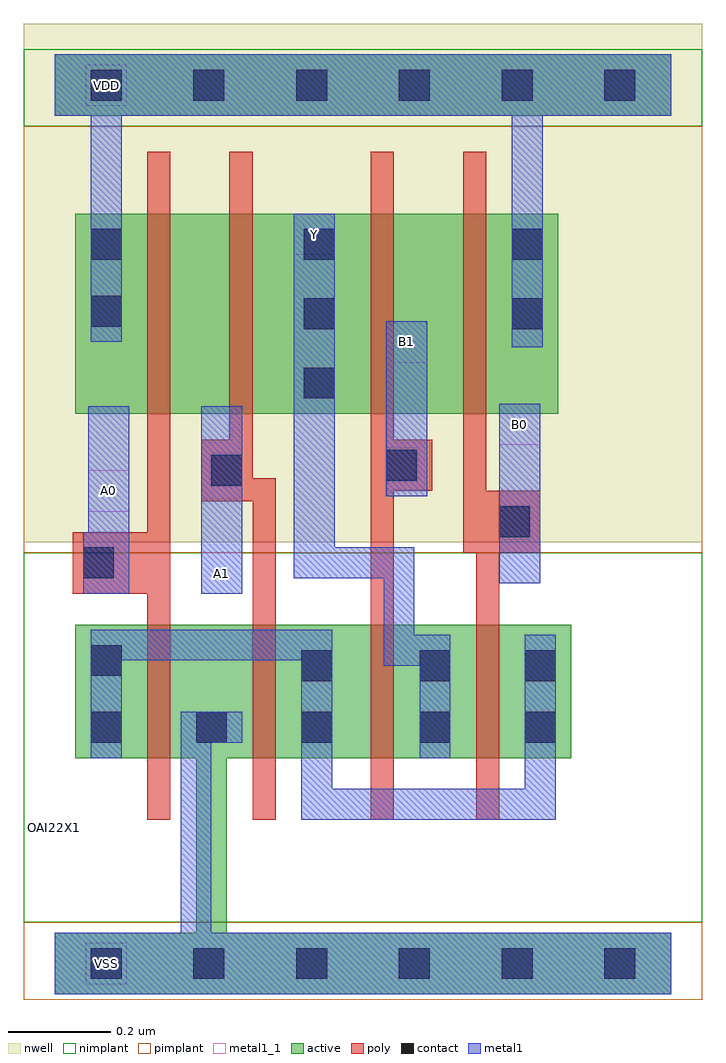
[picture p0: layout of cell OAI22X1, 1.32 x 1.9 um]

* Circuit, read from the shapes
.subckt OAI22X1 A0 A1 B0 B1 VDD VSS Y
M1 VSS A0 n1 VSS nfet w=0.26u l=0.045u
M2 n1 A1 VSS VSS nfet w=0.26u l=0.045u
M3 Y B1 n1 VSS nfet w=0.26u l=0.045u
M4 n1 B0 Y VSS nfet w=0.26u l=0.045u
M5 n2 A0 VDD VDD pfet w=0.39u l=0.045u
M6 Y A1 n2 VDD pfet w=0.39u l=0.045u
M7 n3 B1 Y VDD pfet w=0.39u l=0.045u
M8 VDD B0 n3 VDD pfet w=0.39u l=0.045u
.ends

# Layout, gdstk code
import gdstk
lib = gdstk.Library(unit=1e-6, precision=5e-10)
def R(c, l, rs):  # rectangles x0, y0, x1, y1
    for r in rs: c.add(gdstk.rectangle(r[:2], r[2:], *l))
def A(c, l, x, y, w, h, nx, ny, dx, dy):  # array of equal rectangles
    R(c, l, [(x+i*dx, y+j*dy, x+i*dx+w, y+j*dy+h) for i in range(nx) for j in range(ny)])
def P(c, l, *ps):  # polygons
    for p in ps: c.add(gdstk.Polygon(p, *l))
active = (1, 0)
nwell = (2, 0)
poly = (3, 0)
nimplant = (4, 0)
pimplant = (5, 0)
contact = (6, 0)
metal1 = (7, 0)
metal1_1 = (7, 1)

oai22x1 = lib.new_cell('OAI22X1')
R(oai22x1, active, [(0,-0.06,1.2,0.06), (0.275,0.055,0.335,0.435), (0.04,0.4,1.005,0.66), (0.04,1.07,0.98,1.46), (0,1.65,1.2,1.77)])
R(oai22x1, nwell, [(-0.06,0.82,1.26,1.83)])
P(oai22x1, poly, [(0.18,1.58),(0.225,1.58),(0.225,0.28),(0.18,0.28),(0.18,0.72),(0.035,0.72),(0.035,0.84),(0.18,0.84)],
  [(0.34,1.58),(0.385,1.58),(0.385,0.945),(0.43,0.945),(0.43,0.28),(0.385,0.28),(0.385,0.9),(0.285,0.9),(0.285,1.02),(0.34,1.02)],
  [(0.615,1.58),(0.66,1.58),(0.66,1.02),(0.735,1.02),(0.735,0.92),(0.66,0.92),(0.66,0.28),(0.615,0.28)],
  [(0.945,0.92),(0.84,0.92),(0.84,1.58),(0.795,1.58),(0.795,0.8),(0.82,0.8),(0.82,0.28),(0.865,0.28),(0.865,0.8),(0.945,0.8)])
R(oai22x1, nimplant, [(-0.06,0.08,1.26,0.8), (-0.06,1.63,1.26,1.78)])
R(oai22x1, pimplant, [(-0.06,-0.07,1.26,0.08), (-0.06,0.8,1.26,1.63)])
A(oai22x1, contact, 0.07, -0.03, 0.06, 0.06, 6, 2, 0.2, 1.71)
A(oai22x1, contact, 0.07, 0.43, 0.06, 0.06, 3, 1, 0.205, 0)
A(oai22x1, contact, 0.485, 1.1, 0.06, 0.06, 1, 3, 0, 0.135)
R(oai22x1, contact, [(0.71,0.43,0.77,0.49), (0.915,0.43,0.975,0.49), (0.48,0.55,0.54,0.61), (0.71,0.55,0.77,0.61), (0.915,0.55,0.975,0.61), (0.07,0.56,0.13,0.62), (0.055,0.75,0.115,0.81), (0.865,0.83,0.925,0.89), (0.305,0.93,0.365,0.99), (0.645,0.94,0.705,1), (0.89,1.235,0.95,1.295), (0.07,1.24,0.13,1.3), (0.07,1.37,0.13,1.43), (0.89,1.37,0.95,1.43)])
R(oai22x1, metal1, [(0.285,0.72,0.365,1.085), (0.865,0.74,0.945,1.09), (0.645,0.91,0.725,1.25)])
P(oai22x1, metal1, [(1.2,1.77),(0,1.77),(0,1.65),(0.07,1.65),(0.07,1.21),(0.13,1.21),(0.13,1.65),(0.89,1.65),(0.89,1.2),(0.95,1.2),(0.95,1.65),(1.2,1.65)],
  [(0.465,1.46),(0.545,1.46),(0.545,0.81),(0.7,0.81),(0.7,0.64),(0.77,0.64),(0.77,0.4),(0.71,0.4),(0.71,0.58),(0.64,0.58),(0.64,0.75),(0.465,0.75)],
  [(0.065,1.085),(0.145,1.085),(0.145,0.72),(0.055,0.72),(0.055,0.84),(0.065,0.84)],
  [(0.07,0.65),(0.54,0.65),(0.54,0.34),(0.915,0.34),(0.915,0.64),(0.975,0.64),(0.975,0.28),(0.48,0.28),(0.48,0.59),(0.13,0.59),(0.13,0.4),(0.07,0.4)],
  [(0.245,0.49),(0.365,0.49),(0.365,0.43),(0.305,0.43),(0.305,0.06),(1.2,0.06),(1.2,-0.06),(0,-0.06),(0,0.06),(0.245,0.06)])
R(oai22x1, metal1_1, [(0.06,-0.04,0.14,0.04), (0.285,0.72,0.365,0.8), (0.065,0.88,0.145,0.96), (0.865,1.01,0.945,1.09), (0.645,1.17,0.725,1.25), (0.465,1.38,0.545,1.46), (0.06,1.67,0.14,1.75)])
oai22x1.add(gdstk.Label('VSS', (0.1,0), layer=7, texttype=1))
oai22x1.add(gdstk.Label('Y', (0.505,1.42), layer=7, texttype=1))
oai22x1.add(gdstk.Label('A1', (0.325,0.76), layer=7, texttype=1))
oai22x1.add(gdstk.Label('A0', (0.105,0.92), layer=7, texttype=1))
oai22x1.add(gdstk.Label('B0', (0.905,1.05), layer=7, texttype=1))
oai22x1.add(gdstk.Label('B1', (0.685,1.21), layer=7, texttype=1))
oai22x1.add(gdstk.Label('VDD', (0.1,1.71), layer=7, texttype=1))
oai22x1.add(gdstk.Label('OAI22X1', (0,0.265), layer=63, texttype=0))

lib.write_gds('OAI22X1.gds')
